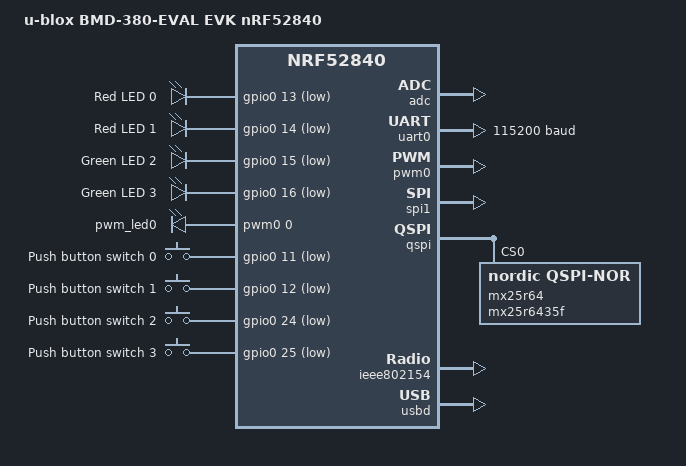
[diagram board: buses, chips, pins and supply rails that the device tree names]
/*
 * BMD-380-EVAL board configuration
 * Copyright (c) 2021 u-blox AG
 *
 * SPDX-License-Identifier: Apache-2.0
 */

/dts-v1/;
#include <nordic/nrf52840_qiaa.dtsi>
#include <nordic/nrf52840_partition.dtsi>
#include "ubx_bmd380eval_nrf52840-pinctrl.dtsi"
/* should be ckaa, but not available yet */
#include <zephyr/dt-bindings/input/input-event-codes.h>

/ {
	model = "u-blox BMD-380-EVAL EVK nRF52840";
	compatible = "u-blox,ubx-bmd380eval-nrf52840";

	chosen {
		zephyr,console = &uart0;
		zephyr,shell-uart = &uart0;
		zephyr,uart-mcumgr = &uart0;
		zephyr,bt-mon-uart = &uart0;
		zephyr,bt-c2h-uart = &uart0;
		zephyr,ieee802154 = &ieee802154;
	};

	leds {
		compatible = "gpio-leds";

		led0: led_0 {
			gpios = <&gpio0 13 GPIO_ACTIVE_LOW>;
			label = "Red LED 0";
		};

		led1: led_1 {
			gpios = <&gpio0 14 GPIO_ACTIVE_LOW>;
			label = "Red LED 1";
		};

		led2: led_2 {
			gpios = <&gpio0 15 GPIO_ACTIVE_LOW>;
			label = "Green LED 2";
		};

		led3: led_3 {
			gpios = <&gpio0 16 GPIO_ACTIVE_LOW>;
			label = "Green LED 3";
		};
	};

	pwmleds {
		compatible = "pwm-leds";

		pwm_led0: pwm_led_0 {
			pwms = <&pwm0 0 PWM_MSEC(20) PWM_POLARITY_INVERTED>;
		};
	};

	buttons {
		compatible = "gpio-keys";

		button0: button_0 {
			gpios = <&gpio0 11 (GPIO_PULL_UP | GPIO_ACTIVE_LOW)>;
			label = "Push button switch 0";
			zephyr,code = <INPUT_KEY_0>;
		};

		button1: button_1 {
			gpios = <&gpio0 12 (GPIO_PULL_UP | GPIO_ACTIVE_LOW)>;
			label = "Push button switch 1";
			zephyr,code = <INPUT_KEY_1>;
		};

		button2: button_2 {
			gpios = <&gpio0 24 (GPIO_PULL_UP | GPIO_ACTIVE_LOW)>;
			label = "Push button switch 2";
			zephyr,code = <INPUT_KEY_2>;
		};

		button3: button_3 {
			gpios = <&gpio0 25 (GPIO_PULL_UP | GPIO_ACTIVE_LOW)>;
			label = "Push button switch 3";
			zephyr,code = <INPUT_KEY_3>;
		};
	};

	/* These aliases are provided for compatibility with samples */
	aliases {
		led0 = &led0;
		led1 = &led1;
		led2 = &led2;
		led3 = &led3;
		pwm-led0 = &pwm_led0;
		sw0 = &button0;
		sw1 = &button1;
		sw2 = &button2;
		sw3 = &button3;
		watchdog0 = &wdt0;
	};
};

&reg1 {
	regulator-initial-mode = <NRF5X_REG_MODE_DCDC>;
};

&adc {
	status = "okay";
};

&uicr {
	gpio-as-nreset;
};

&gpiote {
	status = "okay";
};

&gpio0 {
	status = "okay";
};

&gpio1 {
	status = "okay";
};

&uart0 {
	compatible = "nordic,nrf-uart";
	status = "okay";
	current-speed = <115200>;
	pinctrl-0 = <&uart0_default>;
	pinctrl-1 = <&uart0_sleep>;
	pinctrl-names = "default", "sleep";
};

&i2c1 {
	compatible = "nordic,nrf-twi";
	/* Cannot be used together with spi1. */
	/* status = "okay"; */
	pinctrl-0 = <&i2c1_default>;
	pinctrl-1 = <&i2c1_sleep>;
	pinctrl-names = "default", "sleep";
};

&pwm0 {
	status = "okay";
	pinctrl-0 = <&pwm0_default>;
	pinctrl-1 = <&pwm0_sleep>;
	pinctrl-names = "default", "sleep";
};

&spi0 {
	compatible = "nordic,nrf-spi";
	/* Cannot be used together with i2c0. */
	/* status = "okay"; */
	pinctrl-0 = <&spi0_default>;
	pinctrl-1 = <&spi0_sleep>;
	pinctrl-names = "default", "sleep";
};

&spi1 {
	compatible = "nordic,nrf-spi";
	status = "okay";
	pinctrl-0 = <&spi1_default>;
	pinctrl-1 = <&spi1_sleep>;
	pinctrl-names = "default", "sleep";
};

&spi2 {
	compatible = "nordic,nrf-spi";
	status = "disabled";
	pinctrl-0 = <&spi2_default>;
	pinctrl-1 = <&spi2_sleep>;
	pinctrl-names = "default", "sleep";
};

&qspi {
	status = "okay";
	pinctrl-0 = <&qspi_default>;
	pinctrl-1 = <&qspi_sleep>;
	pinctrl-names = "default", "sleep";

	mx25r64: mx25r6435f@0 {
		compatible = "nordic,qspi-nor";
		reg = <0>;
		writeoc = "pp4io";
		readoc = "read4io";
		sck-frequency = <8000000>;
		jedec-id = [c2 28 17];
		sfdp-bfp = [e5 20 f1 ff ff ff ff 03
			    44 eb 08 6b 08 3b 04 bb
			    ee ff ff ff ff ff 00 ff
			    ff ff 00 ff 0c 20 0f 52
			    10 d8 00 ff 23 72 f5 00
			    82 ed 04 cc 44 83 68 44
			    30 b0 30 b0 f7 c4 d5 5c
			    00 be 29 ff f0 d0 ff ff];
		size = <67108864>;
		has-dpd;
		t-enter-dpd = <10000>;
		t-exit-dpd = <35000>;
	};
};

&ieee802154 {
	status = "okay";
};

zephyr_udc0: &usbd {
	compatible = "nordic,nrf-usbd";
	status = "okay";
};
